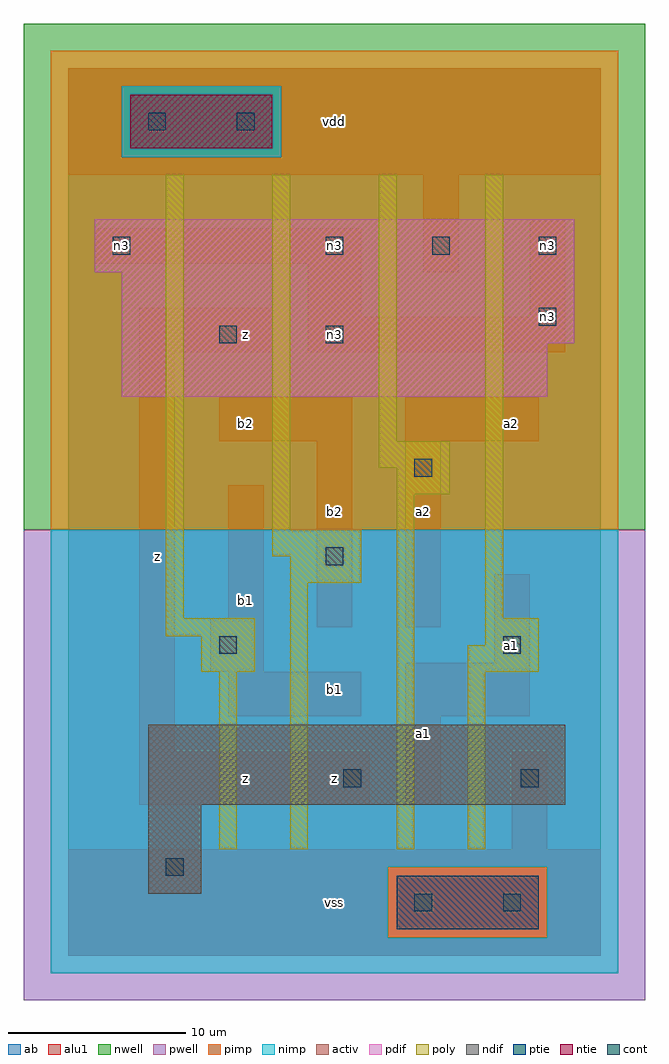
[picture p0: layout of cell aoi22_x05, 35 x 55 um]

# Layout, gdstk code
import gdstk
lib = gdstk.Library(unit=1e-6, precision=1e-09)
def R(c, l, rs):  # rectangles x0, y0, x1, y1
    for r in rs: c.add(gdstk.rectangle(r[:2], r[2:], *l))
def A(c, l, x, y, w, h, nx, ny, dx, dy):  # array of equal rectangles
    R(c, l, [(x+i*dx, y+j*dy, x+i*dx+w, y+j*dy+h) for i in range(nx) for j in range(ny)])
ndif = (3, 0)
pdif = (4, 0)
ntie = (5, 0)
ptie = (6, 0)
cont = (25, 0)
pwell = (41, 0)
nwell = (42, 0)
activ = (43, 0)
pimp = (44, 0)
nimp = (45, 0)
poly = (46, 0)
alu1 = (49, 0)
ab = (63, 0)

aoi22_x05 = lib.new_cell('aoi22_x05')
R(aoi22_x05, ndif, [(4.5,3.5,7.5,8.5), (4.5,8.5,28,13)])
R(aoi22_x05, pdif, [(3,31.5,27,34.5), (3,34.5,28.5,38.5), (1.5,38.5,28.5,41.5)])
R(aoi22_x05, ntie, [(3.5,45.5,11.5,48.5)])
R(aoi22_x05, ptie, [(18.5,1.5,26.5,4.5)])
A(aoi22_x05, cont, 14.5, 39.5, 1, 1, 3, 1, 6, 0)
R(aoi22_x05, cont, [(19.5,2.5,20.5,3.5), (24.5,2.5,25.5,3.5), (5.5,4.5,6.5,5.5), (15.5,9.5,16.5,10.5), (25.5,9.5,26.5,10.5), (8.5,17,9.5,18), (24.5,17,25.5,18), (14.5,22,15.5,23), (19.5,27,20.5,28), (8.5,34.5,9.5,35.5), (14.5,34.5,15.5,35.5), (26.5,35.5,27.5,36.5), (2.5,39.5,3.5,40.5), (4.5,46.5,5.5,47.5), (9.5,46.5,10.5,47.5)])
R(aoi22_x05, pwell, [(-2.5,-2.5,32.5,24)])
R(aoi22_x05, nwell, [(-2.5,24,32.5,52.5)])
R(aoi22_x05, activ, [(18.5,1.5,26.5,4.5), (4.5,3.5,7.5,8.5), (4.5,8.5,28,13), (3,31.5,27,34.5), (3,34.5,28.5,38.5), (1.5,38.5,28.5,41.5), (3.5,45.5,11.5,48.5)])
R(aoi22_x05, pimp, [(18,1,27,5), (-1,24,31,45), (-1,45,3,49), (12,45,31,49), (-1,49,31,51)])
R(aoi22_x05, nimp, [(-1,-1,31,1), (-1,1,18,5), (27,1,31,5), (-1,5,31,24), (3,45,12,49)])
R(aoi22_x05, poly, [(8.5,6,9.5,16), (12.5,6,13.5,21), (18.5,6,19.5,26), (22.5,6,23.5,16), (7.5,16,10.5,18), (22.5,16,26.5,17.5), (23.5,17.5,26.5,19), (5.5,18,10.5,19), (5.5,19,6.5,44), (23.5,19,24.5,44), (12.5,21,16.5,22.5), (11.5,22.5,16.5,24), (11.5,24,12.5,44), (18.5,26,21.5,27.5), (17.5,27.5,21.5,29), (17.5,29,18.5,44)])
R(aoi22_x05, alu1, [(0,0,30,6), (0,0,30,6), (25,6,27,11.5), (25,6,27,11.5), (4,8.5,17,11.5), (4,8.5,17,11.5), (19,8.5,21,13.5), (19,8.5,21,13.5), (4,11.5,6,34), (4,11.5,6,34), (9,13.5,16.5,16), (9,13.5,16.5,16), (19,13.5,26,16.5), (19,13.5,26,16.5), (8,16,11,19), (8,16,11,19), (24,16.5,26,21.5), (24,16.5,26,21.5), (14,18.5,16,29), (14,18.5,16,29), (19,18.5,21,29), (19,18.5,21,29), (9,19,11,26.5), (9,19,11,26.5), (8.5,29,16,31.5), (8.5,29,16,31.5), (19,29,26.5,31.5), (19,29,26.5,31.5), (4,34,11.5,36.5), (4,34,11.5,36.5), (13.5,34,28,36), (13.5,34,28,36), (13.5,36,16.5,39), (13.5,36,16.5,39), (26,36,28,41.5), (26,36,28,41.5), (20,38.5,22,44), (20,38.5,22,44), (1.5,39,16.5,41), (1.5,39,16.5,41), (0,44,30,50), (0,44,30,50)])
R(aoi22_x05, ab, [(0,0,30,50)])
aoi22_x05.add(gdstk.Label('n3', (3,40), layer=49, texttype=0))
aoi22_x05.add(gdstk.Label('n3', (15,40), layer=49, texttype=0))
aoi22_x05.add(gdstk.Label('n3', (15,35), layer=49, texttype=0))
aoi22_x05.add(gdstk.Label('n3', (27,36), layer=49, texttype=0))
aoi22_x05.add(gdstk.Label('n3', (27,40), layer=49, texttype=0))
aoi22_x05.add(gdstk.Label('z', (5,22.5), layer=49, texttype=0))
aoi22_x05.add(gdstk.Label('z', (10,10), layer=49, texttype=0))
aoi22_x05.add(gdstk.Label('b1', (10,20), layer=49, texttype=0))
aoi22_x05.add(gdstk.Label('z', (10,35), layer=49, texttype=0))
aoi22_x05.add(gdstk.Label('b2', (10,30), layer=49, texttype=0))
aoi22_x05.add(gdstk.Label('z', (15,10), layer=49, texttype=0))
aoi22_x05.add(gdstk.Label('vss', (15,3), layer=49, texttype=0))
aoi22_x05.add(gdstk.Label('a1', (20,12.5), layer=49, texttype=0))
aoi22_x05.add(gdstk.Label('b1', (15,15), layer=49, texttype=0))
aoi22_x05.add(gdstk.Label('a2', (20,25), layer=49, texttype=0))
aoi22_x05.add(gdstk.Label('b2', (15,25), layer=49, texttype=0))
aoi22_x05.add(gdstk.Label('vdd', (15,47), layer=49, texttype=0))
aoi22_x05.add(gdstk.Label('a1', (25,17.5), layer=49, texttype=0))
aoi22_x05.add(gdstk.Label('a2', (25,30), layer=49, texttype=0))

lib.write_gds('aoi22_x05.gds')
